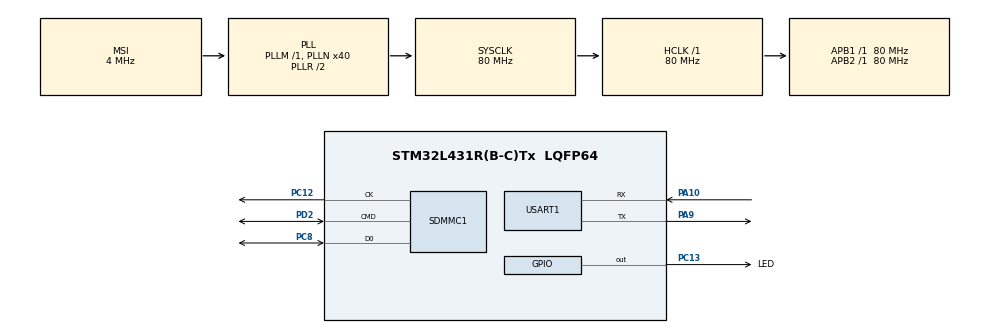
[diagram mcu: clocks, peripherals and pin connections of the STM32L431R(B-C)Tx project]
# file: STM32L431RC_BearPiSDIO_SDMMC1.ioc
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Mcu.Family=STM32L4
Mcu.Name=STM32L431R(B-C)Tx
Mcu.Package=LQFP64
NVIC.PriorityGroup=NVIC_PRIORITYGROUP_4
PA10.Mode=Asynchronous
PA10.Signal=USART1_RX
PA9.Mode=Asynchronous
PA9.Signal=USART1_TX
PC12.Mode=SD_1_bit
PC12.Signal=SDMMC1_CK
PC13.GPIO_Label=LED
PC13.Signal=GPIO_Output
PC8.Mode=SD_1_bit
PC8.Signal=SDMMC1_D0
PD2.Mode=SD_1_bit
PD2.Signal=SDMMC1_CMD
ProjectManager.HeapSize=0x200
ProjectManager.StackSize=0x400
ProjectManager.TargetToolchain=MDK-ARM V5
RCC.ADCFreq_Value=48000000
RCC.AHBFreq_Value=80000000
RCC.APB1Freq_Value=80000000
RCC.APB1TimFreq_Value=80000000
RCC.APB2Freq_Value=80000000
RCC.APB2TimFreq_Value=80000000
RCC.CortexFreq_Value=80000000
RCC.HCLKFreq_Value=80000000
RCC.HSE_VALUE=8000000
RCC.HSI48_VALUE=48000000
RCC.HSI_VALUE=16000000
RCC.LSE_VALUE=32768
RCC.MSI_VALUE=4000000
RCC.PLLN=40
RCC.PLLSAI1N=24
RCC.PLLSAI1Q=RCC_PLLQ_DIV4
RCC.SYSCLKFreq_VALUE=80000000
RCC.SYSCLKSource=RCC_SYSCLKSOURCE_PLLCLK
RCC.VCOOutputFreq_Value=160000000
SDMMC1.ClockDiv=4
USART1.VirtualMode-Asynchronous=VM_ASYNC
board=custom

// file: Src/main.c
/**
  ******************************************************************************
  * @file           : main.c
  * @brief          : Main program body
  ******************************************************************************
  ** This notice applies to any and all portions of this file
  * that are not between comment pairs USER CODE BEGIN and
  * USER CODE END. Other portions of this file, whether
  * inserted by the user or by software development tools
  * are owned by their respective copyright owners.
  *
  * COPYRIGHT(c) 2019 STMicroelectronics
  *
  * Redistribution and use in source and binary forms, with or without modification,
  * are permitted provided that the following conditions are met:
  *   1. Redistributions of source code must retain the above copyright notice,
  *      this list of conditions and the following disclaimer.
  *   2. Redistributions in binary form must reproduce the above copyright notice,
  *      this list of conditions and the following disclaimer in the documentation
  *      and/or other materials provided with the distribution.
  *   3. Neither the name of STMicroelectronics nor the names of its contributors
  *      may be used to endorse or promote products derived from this software
  *      without specific prior written permission.
  *
  * THIS SOFTWARE IS PROVIDED BY THE COPYRIGHT HOLDERS AND CONTRIBUTORS "AS IS"
  * AND ANY EXPRESS OR IMPLIED WARRANTIES, INCLUDING, BUT NOT LIMITED TO, THE
  * IMPLIED WARRANTIES OF MERCHANTABILITY AND FITNESS FOR A PARTICULAR PURPOSE ARE
  * DISCLAIMED. IN NO EVENT SHALL THE COPYRIGHT HOLDER OR CONTRIBUTORS BE LIABLE
  * FOR ANY DIRECT, INDIRECT, INCIDENTAL, SPECIAL, EXEMPLARY, OR CONSEQUENTIAL
  * DAMAGES (INCLUDING, BUT NOT LIMITED TO, PROCUREMENT OF SUBSTITUTE GOODS OR
  * SERVICES; LOSS OF USE, DATA, OR PROFITS; OR BUSINESS INTERRUPTION) HOWEVER
  * CAUSED AND ON ANY THEORY OF LIABILITY, WHETHER IN CONTRACT, STRICT LIABILITY,
  * OR TORT (INCLUDING NEGLIGENCE OR OTHERWISE) ARISING IN ANY WAY OUT OF THE USE
  * OF THIS SOFTWARE, EVEN IF ADVISED OF THE POSSIBILITY OF SUCH DAMAGE.
  *
  ******************************************************************************
  */
#include "main.h"
#include "stm32l4xx_hal.h"
#include "sdmmc.h"
#include "usart.h"
#include "gpio.h"

/* USER CODE BEGIN Includes */
#include "stdio.h"
#include "string.h"
/* USER CODE END Includes */

/* USER CODE BEGIN PV */
/* Private variables ---------------------------------------------------------*/
HAL_SD_CardCIDTypedef SD_CardCID;
#define BLOCK_SIZE            512         // 块大小
#define NUMBER_OF_BLOCKS      8           // 块数量
#define WRITE_READ_ADDRESS    0x00002000  // 读写地址
#define WRITE_READ_ADDRESS2    0x00004000  // 读写地址
uint32_t Buffer_Block_Tx[BLOCK_SIZE*NUMBER_OF_BLOCKS]; // 据缓存
uint32_t Buffer_Block_Rx[BLOCK_SIZE*NUMBER_OF_BLOCKS] = {1,2}; // 数据缓存
HAL_StatusTypeDef sd_status;    // HAL返回值
void ReadSD(void);
void SD_Write_Read_Test(int32_t addr,uint8_t* temp);

/* USER CODE END PV */

void SystemClock_Config(void);

/* USER CODE BEGIN PFP */
/* Private function prototypes -----------------------------------------------*/

/* USER CODE END PFP */

int main(void)
{
  /* USER CODE BEGIN 1 */
uint8_t temp[]="欢迎来到物联网俱乐部";
uint8_t temp1[]="Welcome to IoT";

  /* USER CODE END 1 */

  /* MCU Configuration----------------------------------------------------------*/

  /* Reset of all peripherals, Initializes the Flash interface and the Systick. */
  HAL_Init();

  /* Configure the system clock */
  SystemClock_Config();

  /* Initialize all configured peripherals */
  MX_GPIO_Init();
  MX_SDMMC1_SD_Init();
  MX_USART1_UART_Init();
  /* USER CODE BEGIN 2 */
  ReadSD();//读取SD卡初始化参数
	HAL_SD_ReadBlocks(&hsd1,(uint8_t *)Buffer_Block_Rx,WRITE_READ_ADDRESS,NUMBER_OF_BLOCKS,0xffff);
	printf("Read SD old data1:%s,address:%x\r\n",(char*)Buffer_Block_Rx,WRITE_READ_ADDRESS);
	memset(Buffer_Block_Rx,0x00,sizeof(Buffer_Block_Rx));
  HAL_SD_ReadBlocks(&hsd1,(uint8_t *)Buffer_Block_Rx,WRITE_READ_ADDRESS2,NUMBER_OF_BLOCKS,0xffff);
	printf("Read SD old data2:%s,address:%x\r\n",(char*)Buffer_Block_Rx,WRITE_READ_ADDRESS2);
	memset(Buffer_Block_Rx,0x00,sizeof(Buffer_Block_Rx));
  SD_Write_Read_Test(WRITE_READ_ADDRESS,temp);
	memset(Buffer_Block_Rx,0x00,sizeof(Buffer_Block_Rx));
	SD_Write_Read_Test(WRITE_READ_ADDRESS2,temp1);
	memset(Buffer_Block_Rx,0x00,sizeof(Buffer_Block_Rx));

  /* USER CODE END 2 */

  /* Infinite loop */
  while (1)
  {
  HAL_GPIO_TogglePin(LED_GPIO_Port,LED_Pin);
	HAL_Delay(1000);
  }

}

void SystemClock_Config(void)
{

  RCC_OscInitTypeDef RCC_OscInitStruct;
  RCC_ClkInitTypeDef RCC_ClkInitStruct;
  RCC_PeriphCLKInitTypeDef PeriphClkInit;

    /**Initializes the CPU, AHB and APB busses clocks
    */
  RCC_OscInitStruct.OscillatorType = RCC_OSCILLATORTYPE_MSI;
  RCC_OscInitStruct.MSIState = RCC_MSI_ON;
  RCC_OscInitStruct.MSICalibrationValue = 0;
  RCC_OscInitStruct.MSIClockRange = RCC_MSIRANGE_6;
  RCC_OscInitStruct.PLL.PLLState = RCC_PLL_ON;
  RCC_OscInitStruct.PLL.PLLSource = RCC_PLLSOURCE_MSI;
  RCC_OscInitStruct.PLL.PLLM = 1;
  RCC_OscInitStruct.PLL.PLLN = 40;
  RCC_OscInitStruct.PLL.PLLP = RCC_PLLP_DIV7;
  RCC_OscInitStruct.PLL.PLLQ = RCC_PLLQ_DIV2;
  RCC_OscInitStruct.PLL.PLLR = RCC_PLLR_DIV2;
  if (HAL_RCC_OscConfig(&RCC_OscInitStruct) != HAL_OK)
  {
    _Error_Handler(__FILE__, __LINE__);
  }

    /**Initializes the CPU, AHB and APB busses clocks
    */
  RCC_ClkInitStruct.ClockType = RCC_CLOCKTYPE_HCLK|RCC_CLOCKTYPE_SYSCLK
                              |RCC_CLOCKTYPE_PCLK1|RCC_CLOCKTYPE_PCLK2;
  RCC_ClkInitStruct.SYSCLKSource = RCC_SYSCLKSOURCE_PLLCLK;
  RCC_ClkInitStruct.AHBCLKDivider = RCC_SYSCLK_DIV1;
  RCC_ClkInitStruct.APB1CLKDivider = RCC_HCLK_DIV1;
  RCC_ClkInitStruct.APB2CLKDivider = RCC_HCLK_DIV1;

  if (HAL_RCC_ClockConfig(&RCC_ClkInitStruct, FLASH_LATENCY_4) != HAL_OK)
  {
    _Error_Handler(__FILE__, __LINE__);
  }

  PeriphClkInit.PeriphClockSelection = RCC_PERIPHCLK_USART1|RCC_PERIPHCLK_SDMMC1;
  PeriphClkInit.Usart1ClockSelection = RCC_USART1CLKSOURCE_PCLK2;
  PeriphClkInit.Sdmmc1ClockSelection = RCC_SDMMC1CLKSOURCE_PLLSAI1;
  PeriphClkInit.PLLSAI1.PLLSAI1Source = RCC_PLLSOURCE_MSI;
  PeriphClkInit.PLLSAI1.PLLSAI1M = 1;
  PeriphClkInit.PLLSAI1.PLLSAI1N = 24;
  PeriphClkInit.PLLSAI1.PLLSAI1P = RCC_PLLP_DIV7;
  PeriphClkInit.PLLSAI1.PLLSAI1Q = RCC_PLLQ_DIV4;
  PeriphClkInit.PLLSAI1.PLLSAI1R = RCC_PLLR_DIV2;
  PeriphClkInit.PLLSAI1.PLLSAI1ClockOut = RCC_PLLSAI1_48M2CLK;
  if (HAL_RCCEx_PeriphCLKConfig(&PeriphClkInit) != HAL_OK)
  {
    _Error_Handler(__FILE__, __LINE__);
  }

    /**Configure the main internal regulator output voltage
    */
  if (HAL_PWREx_ControlVoltageScaling(PWR_REGULATOR_VOLTAGE_SCALE1) != HAL_OK)
  {
    _Error_Handler(__FILE__, __LINE__);
  }

    /**Configure the Systick interrupt time
    */
  HAL_SYSTICK_Config(HAL_RCC_GetHCLKFreq()/1000);

    /**Configure the Systick
    */
  HAL_SYSTICK_CLKSourceConfig(SYSTICK_CLKSOURCE_HCLK);

  /* SysTick_IRQn interrupt configuration */
  HAL_NVIC_SetPriority(SysTick_IRQn, 0, 0);
}

/* USER CODE BEGIN 4 */
void ReadSD(void)//读取SD出厂参数
{
      int State=0;
      State = HAL_SD_GetCardState(&hsd1);
	if(State == HAL_SD_CARD_TRANSFER)
	{
	HAL_SD_GetCardCID(&hsd1,&SD_CardCID);
	printf("\r\n Initialize SD card successfully!\r\n\r\n");
	printf(" SD card information! \r\n");
	printf(" CardCapacity  : %llu \r\n",((unsigned long long)hsd1.SdCard.BlockSize*hsd1.SdCard.BlockNbr));
	printf(" CardBlockSize : %d \r\n",hsd1.SdCard.BlockSize);
	printf(" RCA           : %d \r\n",hsd1.SdCard.RelCardAdd);
	printf(" CardType      : %d \r\n",hsd1.SdCard.CardType);
	printf(" ManufacturerID: %d \r\n",SD_CardCID.ManufacturerID);
	}
	else
	{
  	printf("SD card init fail!\r\n" );
		while(1); // 停机
	}
}

void SD_Write_Read_Test(int32_t addr,uint8_t* temp)//写入SD卡数据并读出数据
{

  printf("\r\n\r\n*************Write SD card data *************\r\n");
  sd_status = HAL_SD_WriteBlocks(&hsd1,(uint8_t *)temp,addr,NUMBER_OF_BLOCKS,0xffff);
  printf("Write data:%s,address:%x\r\n",temp,addr);
  HAL_Delay(480);
  if(sd_status == 0)
   {
     printf("Write data test is OK\r\n" );
   }
  else
     printf("Write data test is fail!\r\n " );
   printf("*************Read SD card data *************\r\n");
   sd_status = HAL_SD_ReadBlocks(&hsd1,(uint8_t *)Buffer_Block_Rx,addr,NUMBER_OF_BLOCKS,0xffff);
   printf("ReadSDData:%s,address:%x\r\n",(char*)Buffer_Block_Rx,addr);
  if(sd_status == 0)
   {
     printf("Read data test is OK\r\n" );
   }
  else
  printf("Read data test is fail!\r\n " );
}

/* USER CODE END 4 */

void _Error_Handler(char *file, int line)
{
  while(1)
  {
  }
}

/************************ (C) COPYRIGHT STMicroelectronics *****END OF FILE****/
